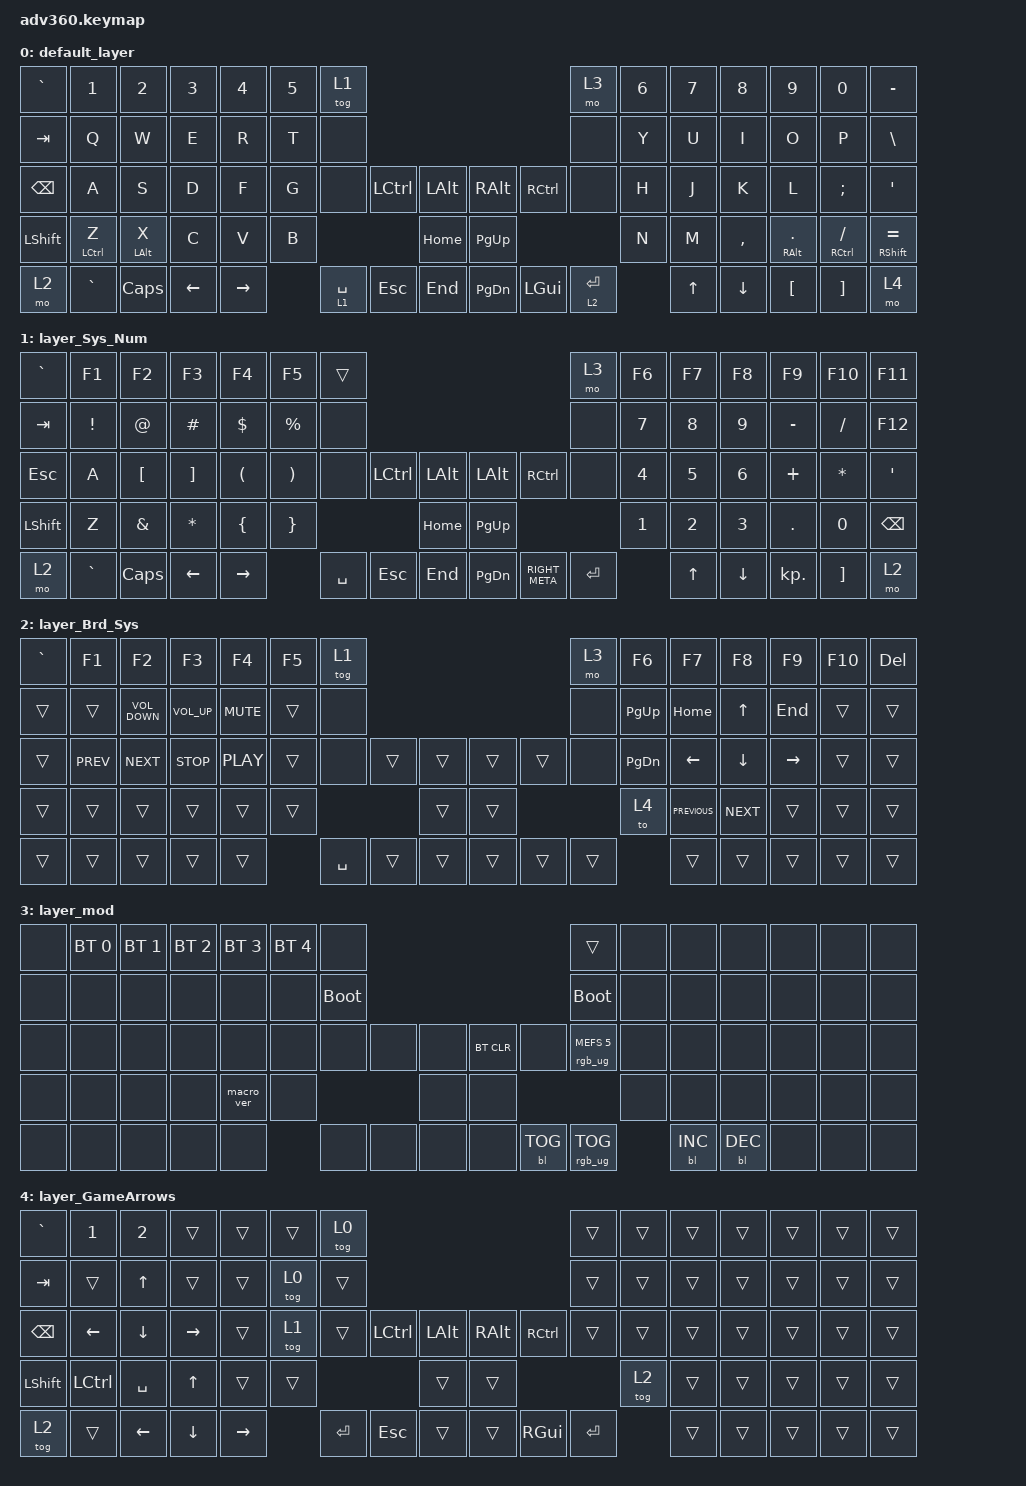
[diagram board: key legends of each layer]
/*
 * Copyright (c) 2020 The ZMK Contributors
 *
 * SPDX-License-Identifier: MIT
 */
/* THIS FILE WAS GENERATED!
 *
 * This file was generated automatically. You may or may not want to
 * edit it directly.
 */

#include <behaviors.dtsi>
#include <dt-bindings/zmk/backlight.h>
#include <dt-bindings/zmk/bt.h>
#include <dt-bindings/zmk/keys.h>
#include <dt-bindings/zmk/rgb.h>

/ {
    behaviors {
        #include "macros.dtsi"
    #include "version.dtsi"

        hm: homerow_mods {
            compatible = "zmk,behavior-hold-tap";
            label = "HOMEROW_MODS";
            #binding-cells = <2>;
            tapping-term-ms = <200>;
            quick_tap_ms = <175>;
            flavor = "tap-preferred";
            bindings = <&kp>, <&kp>;
        };
    };

    keymap {
        compatible = "zmk,keymap";

        default_layer {
            bindings = <
&kp GRAVE      &kp N1              &kp N2          &kp N3    &kp N4     &kp N5  &tog 1                                                           &mo 3         &kp N6  &kp N7  &kp N8     &kp N9                &kp N0                   &kp MINUS
&kp TAB        &kp Q               &kp W           &kp E     &kp R      &kp T   &none                                                            &none         &kp Y   &kp U   &kp I      &kp O                 &kp P                    &kp BSLH
&kp BACKSPACE  &kp A               &kp S           &kp D     &kp F      &kp G   &none        &kp LCTRL   &kp LALT      &kp RIGHT_ALT  &kp RCTRL  &none         &kp H   &kp J   &kp K      &kp L                 &kp SEMI                 &kp SINGLE_QUOTE
&kp LSHFT      &hm LEFT_CONTROL Z  &hm LEFT_ALT X  &kp C     &kp V      &kp B                            &kp HOME      &kp PG_UP                               &kp N   &kp M   &kp COMMA  &hm RIGHT_ALT PERIOD  &hm RIGHT_CONTROL SLASH  &hm RIGHT_SHIFT EQUAL
&mo 2          &kp GRAVE           &kp CAPS        &kp LEFT  &kp RIGHT          &lt 1 SPACE  &kp ESCAPE  &kp END       &kp PG_DN      &kp LGUI   &lt 2 RETURN          &kp UP  &kp DOWN   &kp LBKT              &kp RBKT                 &mo 4
            >;
        };

        layer_Sys_Num {
            bindings = <
&kp GRAVE  &kp F1           &kp F2            &kp F3             &kp F4                &kp F5                 &trans                                                             &mo 3       &kp F6        &kp F7  &kp F8    &kp F9      &kp F10       &kp F11
&kp TAB    &kp EXCLAMATION  &kp AT_SIGN       &kp POUND          &kp DOLLAR            &kp PERCENT            &none                                                              &none       &kp NUMBER_7  &kp N8  &kp N9    &kp MINUS   &kp SLASH     &kp F12
&kp ESC    &kp A            &kp LEFT_BRACKET  &kp RIGHT_BRACKET  &kp LEFT_PARENTHESIS  &kp RIGHT_PARENTHESIS  &none      &kp LCTRL   &kp LALT      &kp LEFT_ALT  &kp RCTRL       &none       &kp N4        &kp N5  &kp N6    &kp PLUS    &kp STAR      &kp SQT
&kp LSHFT  &kp Z            &kp AMPERSAND     &kp STAR           &kp LEFT_BRACE        &kp RIGHT_BRACE                               &kp HOME      &kp PG_UP                                 &kp N1        &kp N2  &kp N3    &kp PERIOD  &kp NUMBER_0  &kp BACKSPACE
&mo 2      &kp GRAVE        &kp CAPS          &kp LEFT           &kp RIGHT                                    &kp SPACE  &kp ESCAPE  &kp END       &kp PG_DN     &kp RIGHT_META  &kp RETURN                &kp UP  &kp DOWN  &kp KP_DOT  &kp RBKT      &mo 2
            >;
        };

        layer_Brd_Sys {
            bindings = <
&kp GRAVE  &kp F1      &kp F2             &kp F3        &kp F4      &kp F5  &tog 1                                         &mo 3   &kp F6         &kp F7          &kp F8          &kp F9           &kp F10  &kp DELETE
&trans     &trans      &kp C_VOLUME_DOWN  &kp C_VOL_UP  &kp K_MUTE  &trans  &none                                          &none   &kp PAGE_UP    &kp HOME        &kp UP_ARROW    &kp END          &trans   &trans
&trans     &kp C_PREV  &kp C_NEXT         &kp C_STOP    &kp C_PLAY  &trans  &none      &trans  &trans      &trans  &trans  &none   &kp PAGE_DOWN  &kp LEFT_ARROW  &kp DOWN_ARROW  &kp RIGHT_ARROW  &trans   &trans
&trans     &trans      &trans             &trans        &trans      &trans                     &trans      &trans                  &to 4          &kp K_PREVIOUS  &kp C_NEXT      &trans           &trans   &trans
&trans     &trans      &trans             &trans        &trans              &kp SPACE  &trans  &trans      &trans  &trans  &trans                 &trans          &trans          &trans           &trans   &trans
            >;
        };

        layer_mod {
            bindings = <
&none  &bt BT_SEL 0  &bt BT_SEL 1  &bt BT_SEL 2  &bt BT_SEL 3  &bt BT_SEL 4  &none                                                  &trans                  &none  &none       &none       &none  &none  &none
&none  &none         &none         &none         &none         &none         &bootloader                                            &bootloader             &none  &none       &none       &none  &none  &none
&none  &none         &none         &none         &none         &none         &none        &none  &none      &bt BT_CLR  &none       &rgb_ug RGB_MEFS_CMD 5  &none  &none       &none       &none  &none  &none
&none  &none         &none         &none         &macro_ver    &none                             &none      &none                                           &none  &none       &none       &none  &none  &none
&none  &none         &none         &none         &none                       &none        &none  &none      &none       &bl BL_TOG  &rgb_ug RGB_TOG                &bl BL_INC  &bl BL_DEC  &none  &none  &none
            >;
        };

        layer_GameArrows {
            bindings = <
&kp GRAVE       &kp NUMBER_1      &kp NUMBER_2    &trans           &trans           &trans  &tog 0                                                                           &trans      &trans  &trans  &trans  &trans  &trans  &trans
&kp TAB         &trans            &kp UP_ARROW    &trans           &trans           &tog 0  &trans                                                                           &trans      &trans  &trans  &trans  &trans  &trans  &trans
&kp BACKSPACE   &kp LEFT_ARROW    &kp DOWN_ARROW  &kp RIGHT_ARROW  &trans           &tog 1  &trans     &kp LEFT_CONTROL  &kp LEFT_ALT      &kp RIGHT_ALT  &kp RIGHT_CONTROL  &trans      &trans  &trans  &trans  &trans  &trans  &trans
&kp LEFT_SHIFT  &kp LEFT_CONTROL  &kp SPACE       &kp UP_ARROW     &trans           &trans                               &trans            &trans                                        &tog 2  &trans  &trans  &trans  &trans  &trans
&tog 2          &trans            &kp LEFT_ARROW  &kp DOWN_ARROW   &kp RIGHT_ARROW          &kp ENTER  &kp ESCAPE        &trans            &trans         &kp RIGHT_GUI      &kp RETURN          &trans  &trans  &trans  &trans  &trans
            >;
        };
    };
};
